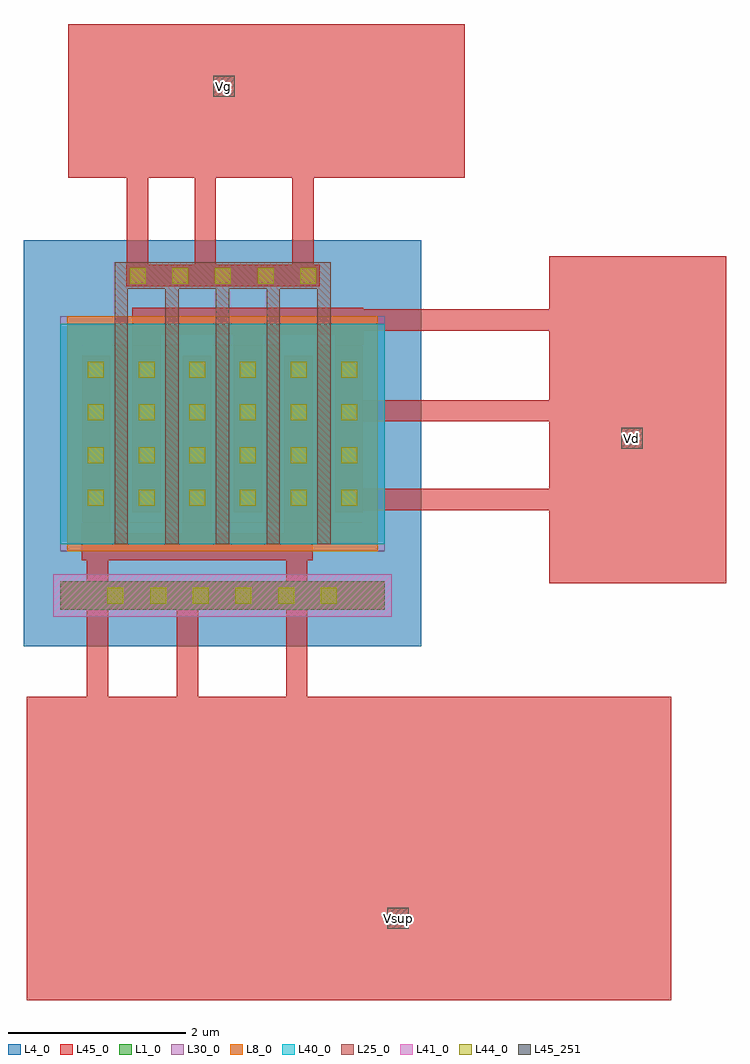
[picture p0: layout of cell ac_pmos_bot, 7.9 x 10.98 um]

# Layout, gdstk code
import gdstk
lib = gdstk.Library(unit=1e-6, precision=1e-09)
def R(c, l, rs):  # rectangles x0, y0, x1, y1
    for r in rs: c.add(gdstk.rectangle(r[:2], r[2:], *l))
def A(c, l, x, y, w, h, nx, ny, dx, dy):  # array of equal rectangles
    R(c, l, [(x+i*dx, y+j*dy, x+i*dx+w, y+j*dy+h) for i in range(nx) for j in range(ny)])
L1_0 = (1, 0)
L4_0 = (4, 0)
L8_0 = (8, 0)
L25_0 = (25, 0)
L30_0 = (30, 0)
L40_0 = (40, 0)
L41_0 = (41, 0)
L44_0 = (44, 0)
L45_0 = (45, 0)
L45_251 = (45, 251)

abutcontact__2 = lib.new_cell('AbutContact$$2')
R(abutcontact__2, L1_0, [(-0.23,-0.03,3.42,0.29)])
A(abutcontact__2, L44_0, 0.3, 0.04, 0.18, 0.18, 6, 1, 0.48, 0)
R(abutcontact__2, L45_0, [(-0.23,-0.03,3.42,0.29)])

pmos_hs_4__1 = lib.new_cell('pmos_hs_4$$1')
A(pmos_hs_4__1, L1_0, 0, 0, 0.15, 2, 5, 1, 0.57, 0)
A(pmos_hs_4__1, L1_0, 0.15, 0, 0.42, 2, 4, 1, 0.57, 0)
A(pmos_hs_4__1, L1_0, -0.37, 0.12, 0.32, 1.76, 6, 1, 0.57, 0)
R(pmos_hs_4__1, L1_0, [(-0.37,0,0,2), (2.43,0,2.8,2)])
R(pmos_hs_4__1, L4_0, [(-1.02,-1.39,3.45,3.18), (-1.02,-1.39,3.45,3.18), (-0.77,-1.14,3.2,2.32)])
R(pmos_hs_4__1, L8_0, [(-0.53,-0.32,2.96,2.32)])
A(pmos_hs_4__1, L25_0, 0, -0.24, 0.15, 0.24, 5, 2, 0.57, 2.24)
A(pmos_hs_4__1, L25_0, 0, -0.24, 0.15, 2.48, 5, 1, 0.57, 0)
A(pmos_hs_4__1, L25_0, 0, 2.24, 0.15, 0.39, 5, 1, 0.57, 0)
R(pmos_hs_4__1, L25_0, [(0,2.63,2.43,2.93), (0.11,2.63,2.33,2.93)])
R(pmos_hs_4__1, L30_0, [(-0.61,-0.32,3.04,2.32)])
R(pmos_hs_4__1, L40_0, [(-0.61,-0.24,3.04,2.24)])
R(pmos_hs_4__1, L41_0, [(-0.69,-1.06,3.12,-0.58)])
A(pmos_hs_4__1, L44_0, -0.3, 0.19, 0.18, 0.18, 6, 4, 0.57, 0.48)
A(pmos_hs_4__1, L44_0, 0.17, 2.69, 0.18, 0.18, 5, 1, 0.48, 0)
A(pmos_hs_4__1, L45_0, -0.37, -0.12, 0.32, 0.24, 3, 1, 1.14, 0)
A(pmos_hs_4__1, L45_0, -0.37, 0.12, 0.32, 1.76, 6, 1, 0.57, 0)
A(pmos_hs_4__1, L45_0, 0.2, 1.88, 0.32, 0.24, 3, 1, 1.14, 0)
R(pmos_hs_4__1, L45_0, [(-0.61,-0.98,3.04,-0.66), (-0.37,-0.42,2.23,-0.12), (0.2,2.12,2.8,2.42), (0.13,2.66,2.31,2.9)])
pmos_hs_4__1.add(gdstk.Reference(abutcontact__2, (-0.38,-0.95)))

ac_pmos_bot = lib.new_cell('ac_pmos_bot')
R(ac_pmos_bot, L45_0, [(2.01,-1.8,9.26,1.61), (7.89,2.89,9.88,6.57), (2.48,7.45,6.94,9.18)])
R(ac_pmos_bot, L45_251, [(6.07,-1,6.31,-0.76), (8.7,4.4,8.94,4.64), (4.11,8.36,4.35,8.6)])
ac_pmos_bot.add(gdstk.FlexPath([(5.12,6.24),(5.12,7.78)], 0.24, ends="flush", simple_path=True, layer=45, datatype=0))  # L45_0
ac_pmos_bot.add(gdstk.FlexPath([(4.02,6.24),(4.02,7.78)], 0.24, ends="flush", simple_path=True, layer=45, datatype=0))  # L45_0
ac_pmos_bot.add(gdstk.FlexPath([(3.26,6.26),(3.26,7.8)], 0.24, ends="flush", simple_path=True, layer=45, datatype=0))  # L45_0
ac_pmos_bot.add(gdstk.FlexPath([(5.49,4.83),(8.6,4.83)], 0.24, ends="flush", simple_path=True, layer=45, datatype=0))  # L45_0
ac_pmos_bot.add(gdstk.FlexPath([(5.49,3.83),(8.6,3.83)], 0.24, ends="flush", simple_path=True, layer=45, datatype=0))  # L45_0
ac_pmos_bot.add(gdstk.FlexPath([(5.49,5.85),(8.6,5.85)], 0.24, ends="flush", simple_path=True, layer=45, datatype=0))  # L45_0
ac_pmos_bot.add(gdstk.FlexPath([(3.82,2.91),(3.82,0.78)], 0.24, ends="flush", simple_path=True, layer=45, datatype=0))  # L45_0
ac_pmos_bot.add(gdstk.FlexPath([(5.05,2.91),(5.05,0.78)], 0.24, ends="flush", simple_path=True, layer=45, datatype=0))  # L45_0
ac_pmos_bot.add(gdstk.FlexPath([(2.81,2.91),(2.81,0.78)], 0.24, ends="flush", simple_path=True, layer=45, datatype=0))  # L45_0
ac_pmos_bot.add(gdstk.FlexPath([(2.81,3.45),(2.81,2.62)], 0.24, ends="flush", simple_path=True, layer=45, datatype=0))  # L45_0
ac_pmos_bot.add(gdstk.FlexPath([(5.05,3.44),(5.05,2.6)], 0.24, ends="flush", simple_path=True, layer=45, datatype=0))  # L45_0
ac_pmos_bot.add(gdstk.Reference(pmos_hs_4__1, (3,3.57)))
ac_pmos_bot.add(gdstk.Label('Vg', (4.23,8.48), layer=45, texttype=251))
ac_pmos_bot.add(gdstk.Label('Vd', (8.82,4.52), layer=45, texttype=251))
ac_pmos_bot.add(gdstk.Label('Vsup', (6.19,-0.88), layer=45, texttype=251))

lib.write_gds('ac_pmos_bot.gds')
